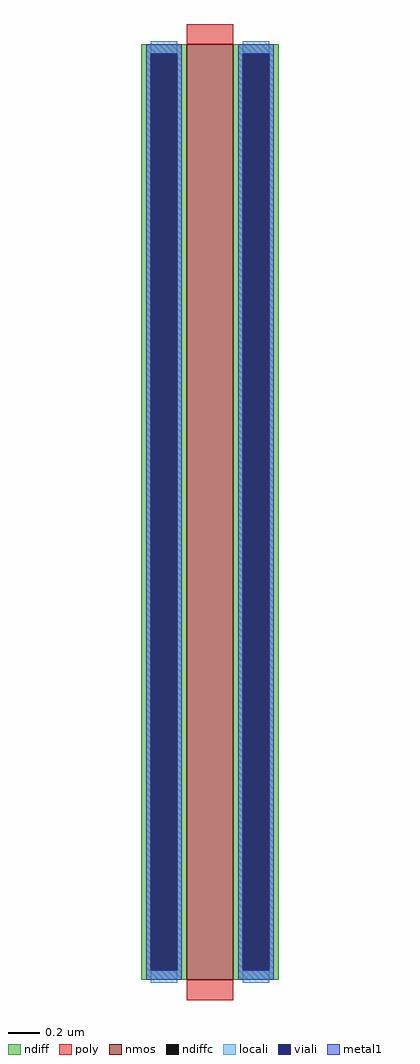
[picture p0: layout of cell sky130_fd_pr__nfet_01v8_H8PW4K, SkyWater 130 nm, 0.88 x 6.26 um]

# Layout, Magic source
magic
tech sky130A
<< nmos >>
rect -15 -300 15 300
<< ndiff >>
rect -44 294 -15 300
rect -44 -294 -38 294
rect -21 -294 -15 294
rect -44 -300 -15 -294
rect 15 294 44 300
rect 15 -294 21 294
rect 38 -294 44 294
rect 15 -300 44 -294
<< ndiffc >>
rect -38 -294 -21 294
rect 21 -294 38 294
<< poly >>
rect -15 300 15 313
rect -15 -313 15 -300
<< locali >>
rect -38 294 -21 302
rect -38 -302 -21 -294
rect 21 294 38 302
rect 21 -302 38 -294
<< viali >>
rect -38 -294 -21 294
rect 21 -294 38 294
<< metal1 >>
rect -41 294 -18 300
rect -41 -294 -38 294
rect -21 -294 -18 294
rect -41 -300 -18 -294
rect 18 294 41 300
rect 18 -294 21 294
rect 38 -294 41 294
rect 18 -300 41 -294
<< properties >>
string gencell sky130_fd_pr__nfet_01v8
string library sky130
string parameters w 6.0 l 0.3 m 1 nf 1 diffcov 100 polycov 100 guard 0 glc 0 grc 0 gtc 0 gbc 0 tbcov 100 rlcov 100 topc 0 botc 0 poverlap 0 doverlap 1 lmin 0.15 wmin 0.42 compatible {sky130_fd_pr__nfet_01v8 sky130_fd_pr__nfet_01v8_lvt  sky130_fd_bs_flash__special_sonosfet_star  sky130_fd_pr__nfet_g5v0d10v5 sky130_fd_pr__nfet_05v0_nvt  sky130_fd_pr__nfet_03v3_nvt} full_metal 0 viasrc 100 viadrn 100 viagate 100 viagb 0 viagr 0 viagl 0 viagt 0
<< end >>
